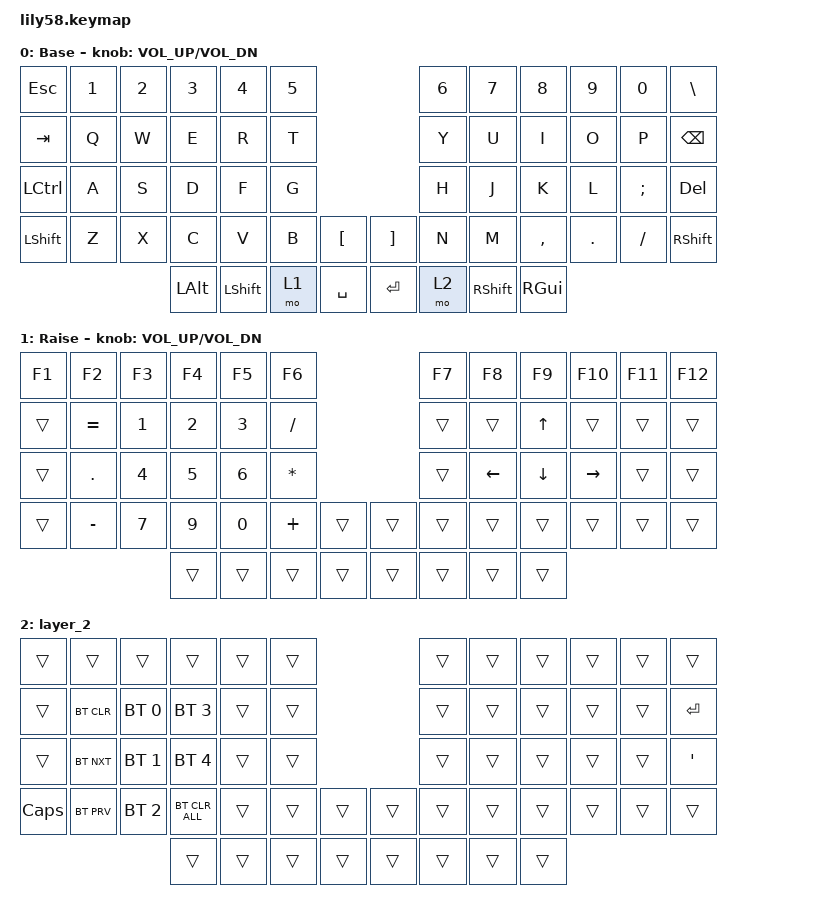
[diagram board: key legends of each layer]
/*
 * Copyright (c) 2020 The ZMK Contributors
 *
 * SPDX-License-Identifier: MIT
 */

#include <behaviors.dtsi>
#include <dt-bindings/zmk/bt.h>
#include <dt-bindings/zmk/keys.h>

/ {
    keymap {
        compatible = "zmk,keymap";

        default_layer {
            // ------------------------------------------------------------------------------------------------------------
            // |  ESC  |  1  |  2  |  3   |  4   |  5   |                   |  6   |  7    |  8    |  9   |   0   |   `   |
            // |  TAB  |  Q  |  W  |  E   |  R   |  T   |                   |  Y   |  U    |  I    |  O   |   P   |   -   |
            // |  CTRL |  A  |  S  |  D   |  F   |  G   |                   |  H   |  J    |  K    |  L   |   ;   |   '   |
            // | SHIFT |  Z  |  X  |  C   |  V   |  B   |   "["  |  |  "]"  |  N   |  M    |  ,    |  .   |   /   | SHIFT |
            //                     | ALT  | GUI  | LOWER|  SPACE |  | ENTER | RAISE| BSPC  | GUI   |

            display-name = "Base";
            bindings = <
&kp ESC    &kp N1  &kp N2  &kp N3    &kp N4          &kp N5                         &kp N6  &kp N7     &kp N8     &kp N9   &kp N0    &kp BACKSLASH
&kp TAB    &kp Q   &kp W   &kp E     &kp R           &kp T                          &kp Y   &kp U      &kp I      &kp O    &kp P     &kp BACKSPACE
&kp LCTRL  &kp A   &kp S   &kp D     &kp F           &kp G                          &kp H   &kp J      &kp K      &kp L    &kp SEMI  &kp DELETE
&kp LSHFT  &kp Z   &kp X   &kp C     &kp V           &kp B   &kp LBKT     &kp RBKT  &kp N   &kp M      &kp COMMA  &kp DOT  &kp FSLH  &kp RSHFT
                           &kp LALT  &kp LEFT_SHIFT  &mo 1   &kp SPACE    &kp RET   &mo 2   &kp RSHFT  &kp RGUI
            >;

            sensor-bindings = <&inc_dec_kp C_VOL_UP C_VOL_DN>;
        };

        layer_1 {
            // ------------------------------------------------------------------------------------------------------------
            // |       |     |     |      |      |      |                   |      |       |       |      |       |       |
            // |   `   |  1  |  2  |  3   |  4   |  5   |                   |  6   |   7   |   8   |  9   |   0   |       |
            // |   F1  |  F2 |  F3 |  F4  |  F5  |  F6  |                   |      |   <-  |   v   |  ^   |  ->   |       |
            // |   F7  |  F8 |  F9 |  F10 |  F11 |  F12 |        |  |       |  +   |   -   |   =   |  [   |   ]   |   \   |
            //                     |      |      |      |        |  |       |      |       |       |

            display-name = "Raise";
            bindings = <
&kp F1  &kp F2      &kp F3        &kp F4        &kp F5        &kp F6                          &kp F7  &kp F8    &kp F9        &kp F10    &kp F11  &kp F12
&trans  &kp EQUAL   &kp NUMBER_1  &kp NUMBER_2  &kp NUMBER_3  &kp SLASH                       &trans  &trans    &kp UP_ARROW  &trans     &trans   &trans
&trans  &kp PERIOD  &kp NUMBER_4  &kp N5        &kp NUMBER_6  &kp ASTERISK                    &trans  &kp LEFT  &kp DOWN      &kp RIGHT  &trans   &trans
&trans  &kp MINUS   &kp N7        &kp N9        &kp N0        &kp PLUS      &trans    &trans  &trans  &trans    &trans        &trans     &trans   &trans
                                  &trans        &trans        &trans        &trans    &trans  &trans  &trans    &trans
            >;

            sensor-bindings = <&inc_dec_kp C_VOL_UP C_VOL_DN>;
        };

        layer_2 {
            bindings = <
&trans        &trans      &trans        &trans          &trans  &trans                    &trans  &trans  &trans  &trans  &trans  &trans
&trans        &bt BT_CLR  &bt BT_SEL 0  &bt BT_SEL 3    &trans  &trans                    &trans  &trans  &trans  &trans  &trans  &kp ENTER
&trans        &bt BT_NXT  &bt BT_SEL 1  &bt BT_SEL 4    &trans  &trans                    &trans  &trans  &trans  &trans  &trans  &kp SINGLE_QUOTE
&kp CAPSLOCK  &bt BT_PRV  &bt BT_SEL 2  &bt BT_CLR_ALL  &trans  &trans  &trans    &trans  &trans  &trans  &trans  &trans  &trans  &trans
                                        &trans          &trans  &trans  &trans    &trans  &trans  &trans  &trans
            >;
        };
    };
};
